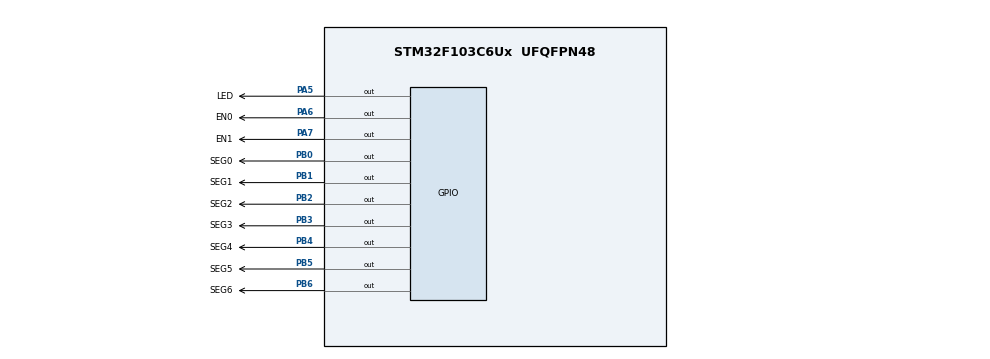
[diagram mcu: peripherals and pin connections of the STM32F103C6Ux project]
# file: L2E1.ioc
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Mcu.Family=STM32F1
Mcu.Name=STM32F103C6Ux
Mcu.Package=UFQFPN48
NVIC.PriorityGroup=NVIC_PRIORITYGROUP_4
NVIC.TIM2_IRQn=true\:0\:0\:false\:false\:true\:true\:true
PA13.Mode=Serial_Wire
PA13.Signal=SYS_JTMS-SWDIO
PA14.Mode=Serial_Wire
PA14.Signal=SYS_JTCK-SWCLK
PA5.GPIO_Label=LED
PA5.Signal=GPIO_Output
PA6.GPIO_Label=EN0
PA6.Signal=GPIO_Output
PA7.GPIO_Label=EN1
PA7.Signal=GPIO_Output
PB0.GPIO_Label=SEG0
PB0.Signal=GPIO_Output
PB1.GPIO_Label=SEG1
PB1.Signal=GPIO_Output
PB2.GPIO_Label=SEG2
PB2.Signal=GPIO_Output
PB3.GPIO_Label=SEG3
PB3.Signal=GPIO_Output
PB4.GPIO_Label=SEG4
PB4.Signal=GPIO_Output
PB5.GPIO_Label=SEG5
PB5.Signal=GPIO_Output
PB6.GPIO_Label=SEG6
PB6.Signal=GPIO_Output
ProjectManager.HeapSize=0x200
ProjectManager.StackSize=0x400
ProjectManager.TargetToolchain=STM32CubeIDE
RCC.APB1Freq_Value=8000000
RCC.APB2Freq_Value=8000000
TIM2.Period=9
TIM2.Prescaler=7999
VP_TIM2_VS_ClockSourceINT.Mode=Internal
board=custom

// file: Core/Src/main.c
/* USER CODE BEGIN Header */
/**
  ******************************************************************************
  * @file           : main.c
  * @brief          : Main program body
  ******************************************************************************
  * @attention
  *
  * <h2><center>&copy; Copyright (c) 2024 STMicroelectronics.
  * All rights reserved.</center></h2>
  *
  * This software component is licensed by ST under BSD 3-Clause license,
  * the "License"; You may not use this file except in compliance with the
  * License. You may obtain a copy of the License at:
  *                        opensource.org/licenses/BSD-3-Clause
  *
  ******************************************************************************
  */
/* USER CODE END Header */
#include "main.h"
void display7SEG1(int num);
//#include "display7SEG.h"

TIM_HandleTypeDef htim2;

void SystemClock_Config(void);
static void MX_GPIO_Init(void);
static void MX_TIM2_Init(void);

int main(void)
{

  /* MCU Configuration--------------------------------------------------------*/

  /* Reset of all peripherals, Initializes the Flash interface and the Systick. */
  HAL_Init();

  /* Configure the system clock */
  SystemClock_Config();

  /* Initialize all configured peripherals */
  MX_GPIO_Init();
  MX_TIM2_Init();
  /* USER CODE BEGIN 2 */
  HAL_TIM_Base_Start_IT(&htim2);
  /* USER CODE END 2 */

  /* Infinite loop */
  while (1)
  {

  }
}
void display7SEG(int num){
	  switch (num)
	      {
	      case 0:
	          HAL_GPIO_WritePin(GPIOB,
	                  SEG0_Pin | SEG1_Pin | SEG2_Pin | SEG3_Pin | SEG4_Pin
	                          | SEG5_Pin, GPIO_PIN_RESET);
	          HAL_GPIO_WritePin(GPIOB, SEG6_Pin, GPIO_PIN_SET);
	          break;
	      case 1:
	          HAL_GPIO_WritePin(GPIOB,
	        		  SEG1_Pin | SEG2_Pin , GPIO_PIN_RESET);
	          HAL_GPIO_WritePin(GPIOB, SEG0_Pin | SEG6_Pin | SEG3_Pin | SEG4_Pin
                    | SEG5_Pin, GPIO_PIN_SET);
	          break;
	      case 2:
	          HAL_GPIO_WritePin(GPIOB,
	                  SEG0_Pin | SEG1_Pin | SEG6_Pin | SEG3_Pin | SEG4_Pin
	                          , GPIO_PIN_RESET);
	          HAL_GPIO_WritePin(GPIOB, SEG2_Pin | SEG5_Pin, GPIO_PIN_SET);
	          break;
	      case 3:
	          HAL_GPIO_WritePin(GPIOB,
	                  SEG0_Pin | SEG1_Pin | SEG6_Pin | SEG3_Pin | SEG2_Pin
	                          | SEG5_Pin, GPIO_PIN_RESET);
	          HAL_GPIO_WritePin(GPIOB, SEG4_Pin| SEG5_Pin, GPIO_PIN_SET);
	          break;
	      case 5:
	          HAL_GPIO_WritePin(GPIOB,
	                  SEG0_Pin | SEG2_Pin | SEG3_Pin | SEG6_Pin
	                          | SEG5_Pin, GPIO_PIN_RESET);
	          HAL_GPIO_WritePin(GPIOB, SEG4_Pin| SEG1_Pin, GPIO_PIN_SET);
	          break;
	      case 4:
	          HAL_GPIO_WritePin(GPIOB,
	        		  SEG6_Pin | SEG1_Pin | SEG2_Pin | SEG5_Pin, GPIO_PIN_RESET);
	          HAL_GPIO_WritePin(GPIOB,SEG0_Pin | SEG3_Pin | SEG4_Pin, GPIO_PIN_SET);
	          break;
	      case 6:
	          HAL_GPIO_WritePin(GPIOB,
	                  SEG0_Pin | SEG6_Pin | SEG2_Pin | SEG3_Pin | SEG4_Pin
	                          | SEG5_Pin, GPIO_PIN_RESET);
	          HAL_GPIO_WritePin(GPIOB, SEG1_Pin, GPIO_PIN_SET);
	          break;
	      case 7:
	          HAL_GPIO_WritePin(GPIOB,
	                  SEG0_Pin | SEG1_Pin | SEG2_Pin , GPIO_PIN_RESET);
	          HAL_GPIO_WritePin(GPIOB, SEG6_Pin| SEG3_Pin | SEG4_Pin
                    | SEG5_Pin, GPIO_PIN_SET);
	          break;
	      case 8:
	          HAL_GPIO_WritePin(GPIOB,
	                  SEG0_Pin | SEG1_Pin | SEG2_Pin | SEG3_Pin | SEG4_Pin
	                          | SEG5_Pin | SEG6_Pin, GPIO_PIN_RESET);
	          break;
	      case 9:
	          HAL_GPIO_WritePin(GPIOB,
	                  SEG0_Pin | SEG1_Pin | SEG2_Pin | SEG3_Pin | SEG5_Pin
	                          | SEG6_Pin, GPIO_PIN_RESET);
	          HAL_GPIO_WritePin(GPIOB, SEG4_Pin, GPIO_PIN_SET);
	          break;
	      }
}

void SystemClock_Config(void)
{
  RCC_OscInitTypeDef RCC_OscInitStruct = {0};
  RCC_ClkInitTypeDef RCC_ClkInitStruct = {0};

  /** Initializes the RCC Oscillators according to the specified parameters
  * in the RCC_OscInitTypeDef structure.
  */
  RCC_OscInitStruct.OscillatorType = RCC_OSCILLATORTYPE_HSI;
  RCC_OscInitStruct.HSIState = RCC_HSI_ON;
  RCC_OscInitStruct.HSICalibrationValue = RCC_HSICALIBRATION_DEFAULT;
  RCC_OscInitStruct.PLL.PLLState = RCC_PLL_NONE;
  if (HAL_RCC_OscConfig(&RCC_OscInitStruct) != HAL_OK)
  {
    Error_Handler();
  }
  /** Initializes the CPU, AHB and APB buses clocks
  */
  RCC_ClkInitStruct.ClockType = RCC_CLOCKTYPE_HCLK|RCC_CLOCKTYPE_SYSCLK
                              |RCC_CLOCKTYPE_PCLK1|RCC_CLOCKTYPE_PCLK2;
  RCC_ClkInitStruct.SYSCLKSource = RCC_SYSCLKSOURCE_HSI;
  RCC_ClkInitStruct.AHBCLKDivider = RCC_SYSCLK_DIV1;
  RCC_ClkInitStruct.APB1CLKDivider = RCC_HCLK_DIV1;
  RCC_ClkInitStruct.APB2CLKDivider = RCC_HCLK_DIV1;

  if (HAL_RCC_ClockConfig(&RCC_ClkInitStruct, FLASH_LATENCY_0) != HAL_OK)
  {
    Error_Handler();
  }
}

static void MX_TIM2_Init(void)
{

  TIM_ClockConfigTypeDef sClockSourceConfig = {0};
  TIM_MasterConfigTypeDef sMasterConfig = {0};

  htim2.Instance = TIM2;
  htim2.Init.Prescaler = 7999;
  htim2.Init.CounterMode = TIM_COUNTERMODE_UP;
  htim2.Init.Period = 9;
  htim2.Init.ClockDivision = TIM_CLOCKDIVISION_DIV1;
  htim2.Init.AutoReloadPreload = TIM_AUTORELOAD_PRELOAD_DISABLE;
  if (HAL_TIM_Base_Init(&htim2) != HAL_OK)
  {
    Error_Handler();
  }
  sClockSourceConfig.ClockSource = TIM_CLOCKSOURCE_INTERNAL;
  if (HAL_TIM_ConfigClockSource(&htim2, &sClockSourceConfig) != HAL_OK)
  {
    Error_Handler();
  }
  sMasterConfig.MasterOutputTrigger = TIM_TRGO_RESET;
  sMasterConfig.MasterSlaveMode = TIM_MASTERSLAVEMODE_DISABLE;
  if (HAL_TIMEx_MasterConfigSynchronization(&htim2, &sMasterConfig) != HAL_OK)
  {
    Error_Handler();
  }

}

static void MX_GPIO_Init(void)
{
  GPIO_InitTypeDef GPIO_InitStruct = {0};

  /* GPIO Ports Clock Enable */
  __HAL_RCC_GPIOA_CLK_ENABLE();
  __HAL_RCC_GPIOB_CLK_ENABLE();

  /*Configure GPIO pin Output Level */
  HAL_GPIO_WritePin(GPIOA, LED_Pin|EN0_Pin|EN1_Pin, GPIO_PIN_RESET);

  /*Configure GPIO pin Output Level */
  HAL_GPIO_WritePin(GPIOB, SEG0_Pin|SEG1_Pin|SEG2_Pin|SEG3_Pin
                          |SEG4_Pin|SEG5_Pin|SEG6_Pin, GPIO_PIN_RESET);

  /*Configure GPIO pins : LED_Pin EN0_Pin EN1_Pin */
  GPIO_InitStruct.Pin = LED_Pin|EN0_Pin|EN1_Pin;
  GPIO_InitStruct.Mode = GPIO_MODE_OUTPUT_PP;
  GPIO_InitStruct.Pull = GPIO_NOPULL;
  GPIO_InitStruct.Speed = GPIO_SPEED_FREQ_LOW;
  HAL_GPIO_Init(GPIOA, &GPIO_InitStruct);

  /*Configure GPIO pins : SEG0_Pin SEG1_Pin SEG2_Pin SEG3_Pin
                           SEG4_Pin SEG5_Pin SEG6_Pin */
  GPIO_InitStruct.Pin = SEG0_Pin|SEG1_Pin|SEG2_Pin|SEG3_Pin
                          |SEG4_Pin|SEG5_Pin|SEG6_Pin;
  GPIO_InitStruct.Mode = GPIO_MODE_OUTPUT_PP;
  GPIO_InitStruct.Pull = GPIO_NOPULL;
  GPIO_InitStruct.Speed = GPIO_SPEED_FREQ_LOW;
  HAL_GPIO_Init(GPIOB, &GPIO_InitStruct);

}

/* USER CODE BEGIN 4 */
int counter = 100;
void HAL_TIM_PeriodElapsedCallback (TIM_HandleTypeDef *htim){
    if(htim->Instance == TIM2){
        counter--;
        if(counter<=50){
        	//counter=100;
        	//HAL_GPIO_TogglePin(LED_GPIO_Port, LED_Pin);
        	HAL_GPIO_WritePin(GPIOA, EN0_Pin, 0);
        	HAL_GPIO_WritePin(GPIOA, EN1_Pin, 1);
        	display7SEG(1);
        }
        if(counter<=0){
        	counter=100;
        	HAL_GPIO_TogglePin(LED_GPIO_Port, LED_Pin);
        	HAL_GPIO_WritePin(GPIOA, EN0_Pin, 1);
        	HAL_GPIO_WritePin(GPIOA, EN1_Pin, 0);
        	display7SEG(2);
        }
    }
}
/* USER CODE END 4 */

void Error_Handler(void)
{
  __disable_irq();
  while (1)
  {
  }
}

/************************ (C) COPYRIGHT STMicroelectronics *****END OF FILE****/
